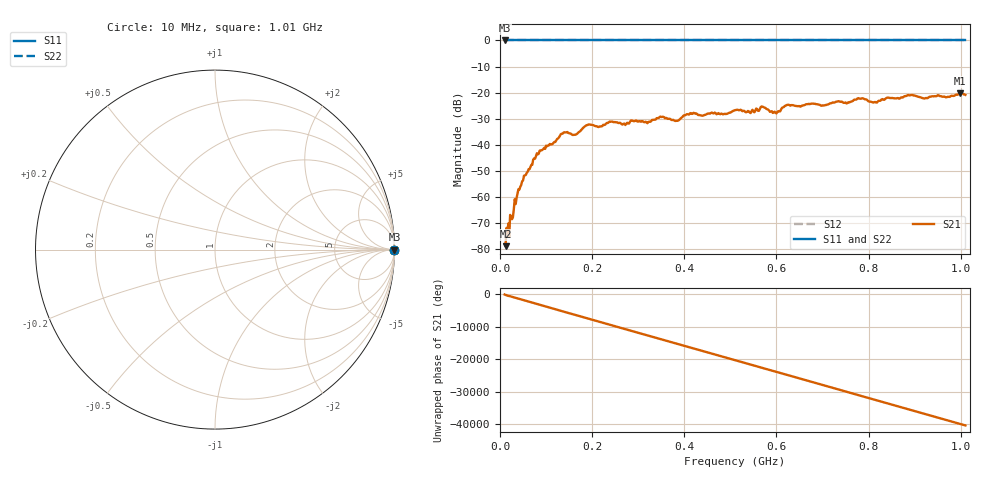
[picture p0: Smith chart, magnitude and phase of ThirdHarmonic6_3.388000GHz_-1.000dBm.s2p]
! 8/17/2025 10:47:26 AM
! C:\ANRITSUVNA\TEMP\TEMP.S2P
! CHANNEL.1
! TR.MEASUREMENT
! RAW.DATA
! RF.CORRECTION.OFF
! AVERAGING.OFF
! IF.BANDWIDTH: 5KHZ
! SWEEPTYPE:  FREQ.SWEEP(Linear)
! Reference Plane Port Info
! PORT:  PORT1  PORT2
! DISTANCE:  0  m  0  m
! TIME:  0  s  0  s
! PHASE.OFFSET:  0  deg.  0  deg.
! LOSS:  0  dB  0  dB
! REF.LOSS:  0  dB  0  dB
! REF.FREQ:  0  Hz  0  Hz
! Power Info
! POWER:  -20  dBm  -20  dBm
! EFF.POWER:  -20  dBm  -20  dBm
! SOURCE.ATTEN:  0  dB  0  dB
! TEST.ATTEN:  0  dB  0  dB
# GHZ S RI R 50.0
! FREQ.GHZ  S11RE  S11IM  S21RE  S21IM  S12RE  S12IM  S22RE  S22IM
!; PortSelection: Port_12
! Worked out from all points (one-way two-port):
!   501 points, 10 MHz to 1.01 GHz, reference 50 ohm
!   highest |S21| = -20.21 dB at 998 MHz (marker M1); lowest = -78.9 dB at 12 MHz (marker M2)
!   lowest |S11| = 0.0 dB at 10 MHz (marker M3)
!   |S11| at or under -10 dB: nowhere
!   |S22| runs from 0.0 to 0.0 dB; largest |S21 - S12| = 1.1
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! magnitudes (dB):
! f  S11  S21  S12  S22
! 10 MHz  0.0  -78.1  0.0  0.0
! 12 MHz  0.0  -78.9  0.0  0.0
! 42 MHz  0.0  -57.2  0.0  0.0
! 76 MHz  0.0  -45.4  0.0  0.0
! 136 MHz  0.0  -35.7  0.0  0.0
! 162 MHz  0.0  -36.2  0.0  0.0
! 178 MHz  0.0  -34.0  0.0  0.0
! 192 MHz  0.0  -32.2  0.0  0.0
! 322 MHz  0.0  -31.3  0.0  0.0
! 344 MHz  0.0  -29.8  0.0  0.0
! 384 MHz  0.0  -30.8  0.0  0.0
! 416 MHz  0.0  -28.2  0.0  0.0
! 510 MHz  0.0  -26.7  0.0  0.0
! 570 MHz  0.0  -25.4  0.0  0.0
! 596 MHz  0.0  -27.3  0.0  0.0
! 622 MHz  0.0  -24.8  0.0  0.0
! 678 MHz  0.0  -24.2  0.0  0.0
! 782 MHz  0.0  -22.4  0.0  0.0
! 814 MHz  0.0  -23.6  0.0  0.0
! 844 MHz  0.0  -21.9  0.0  0.0
! 998 MHz  0.0  -20.2  0.0  0.0
! 1.01 GHz  0.0  -20.9  0.0  0.0
